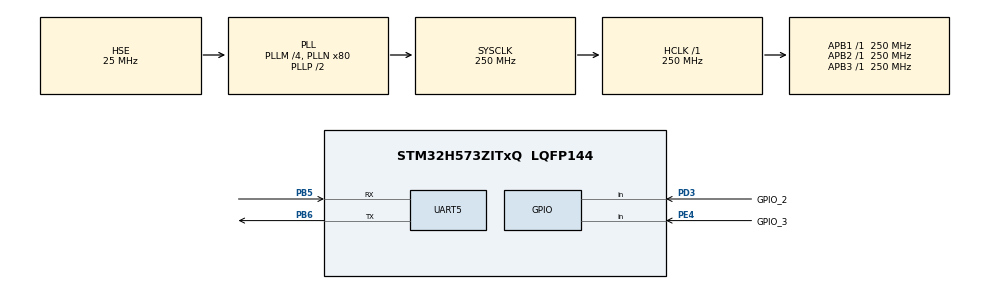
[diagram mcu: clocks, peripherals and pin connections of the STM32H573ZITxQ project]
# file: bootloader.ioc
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BOOTPATH.BootPathName=LEGACY
BOOTPATH.UserSelectedBootPath=LEGACY
CORTEX_M33_NS.userName=CORTEX_M33
Mcu.Family=STM32H5
Mcu.Name=STM32H573ZITxQ
Mcu.Package=LQFP144
NVIC.PriorityGroup=NVIC_PRIORITYGROUP_4
NVIC.UART5_IRQn=true\:0\:0\:false\:false\:true\:true\:true\:true
PB5.Mode=Asynchronous
PB5.Signal=UART5_RX
PB6.Mode=Asynchronous
PB6.Signal=UART5_TX
PC14-OSC32_IN(OSC32_IN).Mode=LSE-External-Oscillator
PC14-OSC32_IN(OSC32_IN).Signal=RCC_OSC32_IN
PC15-OSC32_OUT(OSC32_OUT).Mode=LSE-External-Oscillator
PC15-OSC32_OUT(OSC32_OUT).Signal=RCC_OSC32_OUT
PD3.GPIO_Label=GPIO_2
PD3.Signal=GPIO_Input
PE4.GPIO_Label=GPIO_3
PE4.Signal=GPIO_Input
PH0-OSC_IN(PH0).Mode=HSE-External-Oscillator
PH0-OSC_IN(PH0).Signal=RCC_OSC_IN
PH1-OSC_OUT(PH1).Mode=HSE-External-Oscillator
PH1-OSC_OUT(PH1).Signal=RCC_OSC_OUT
ProjectManager.HeapSize=0x200
ProjectManager.StackSize=0x400
ProjectManager.TargetToolchain=STM32CubeIDE
RCC.ADCFreq_Value=250000000
RCC.AHBFreq_Value=250000000
RCC.APB1Freq_Value=250000000
RCC.APB1TimFreq_Value=250000000
RCC.APB2Freq_Value=250000000
RCC.APB2TimFreq_Value=250000000
RCC.APB3Freq_Value=250000000
RCC.CSI_VALUE=4000000
RCC.CortexFreq_Value=250000000
RCC.EPOD_VALUE=25000000
RCC.HCLKFreq_Value=250000000
RCC.HSE_VALUE=25000000
RCC.HSI48_VALUE=48000000
RCC.HSI_VALUE=64000000
RCC.LSIRC_VALUE=32000
RCC.PLLFRACN=0
RCC.PLLM=4
RCC.PLLN=80
RCC.PLLSourceVirtual=RCC_PLL1_SOURCE_HSE
RCC.SYSCLKFreq_VALUE=250000000
RCC.SYSCLKSource=RCC_SYSCLKSOURCE_PLLCLK
RCC.USBFreq_Value=48000000
RCC.VCOOutputFreq_Value=500000000
VP_BOOTPATH_VS_BOOTPATH.Mode=BP_Activate
VP_CORTEX_M33_NS_VS_Hclk.Mode=Hclk_Mode
VP_MEMORYMAP_VS_MEMORYMAP.Mode=CurAppReg
VP_PWR_VS_DBSignals.Mode=DisableDeadBatterySignals
VP_PWR_VS_LPOM.Mode=PowerOptimisation
VP_PWR_VS_SECSignals.Mode=Security/Privilege
board=custom

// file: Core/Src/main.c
/* USER CODE BEGIN Header */
/**
 ******************************************************************************
 * @file           : main.c
 * @brief          : Main program body
 ******************************************************************************
 * @attention
 *
 * Copyright (c) 2024 STMicroelectronics.
 * All rights reserved.
 *
 * This software is licensed under terms that can be found in the LICENSE file
 * in the root directory of this software component.
 * If no LICENSE file comes with this software, it is provided AS-IS.
 *
 ******************************************************************************
 */
/* USER CODE END Header */
#include "main.h"

/* USER CODE BEGIN Includes */
#include "stm32h5xx_hal_flash.h"
#include "xmodem.h"
/* USER CODE END Includes */

/* USER CODE BEGIN PM */
#define BOOTLOADER_GPIO_PIN GPIO_PIN_0  // GPIO pin for mode switching
#define BOOTLOADER_GPIO_PORT GPIOA      // GPIO port for mode switching
#define APPLICATION_START_ADDRESS 0x0800C000  // Address where the application is stored
#define TIMEOUT_MS 30000               // Timeout for bootloader (30 seconds)
#define UART_BUFFER_SIZE 256           // UART buffer size for file transfer
/* USER CODE END PM */

UART_HandleTypeDef huart5;

/* USER CODE BEGIN PV */
uint8_t uartBuffer[UART_BUFFER_SIZE];

/* USER CODE END PV */

void SystemClock_Config(void);
static void MX_GPIO_Init(void);
static void MX_UART5_Init(void);
/* USER CODE BEGIN PFP */
void UART_InitAllHandlers(void) ;
/* USER CODE END PFP */

/* USER CODE BEGIN 0 */
bool IsBootloaderMode(void);
void JumpToApplication(void);
void BootloaderMain(void);
void EraseFlash(uint32_t startAddress, uint32_t length);
void WriteQuadWordToFlash(uint32_t flashAddress, uint32_t *data,
		uint32_t length);
void circular_buffer_write(CircularBuffer *cb, uint8_t value);
//#define BUFFER_SIZE 256; // Define the size of the buffer

uint8_t uart5_rx_buffer[1];

CircularBuffer uart_buffer;

/* USER CODE END 0 */

int main(void)
{

	/* MCU Configuration--------------------------------------------------------*/

	/* Reset of all peripherals, Initializes the Flash interface and the Systick. */
	HAL_Init();

	/* Configure the system clock */
	SystemClock_Config();

	/* Initialize all configured peripherals */
	MX_GPIO_Init();
	MX_UART5_Init();
	/* USER CODE BEGIN 2 */
	UART_InitAllHandlers();
	if(!(IsBootloaderMode())){
	uart_transmit_str((uint8_t*)"\n\r================================\n\r");
	uart_transmit_str((uint8_t*)"UART Bootloader\n\r");
	uart_transmit_str((uint8_t*)"Entering into bootloader mode, open Tera Term and send binary file in XMODEM mode\n\r");
	uart_transmit_str((uint8_t*)"================================\n\r\n\r");
	}
	else{
		flash_jump_to_app();
	}
	circular_buffer_init(&uart_buffer);

	/* USER CODE END 2 */

	/* Infinite loop */
	/* USER CODE BEGIN WHILE */
	while (1) {
#if 1
		if(!(IsBootloaderMode())){

			flash_erase(APPLICATION_START_ADDRESS);
			uart_transmit_str((uint8_t*)"Please send a new binary file with Xmodem protocol to update the firmware.\n\r");
			xmodem_receive(&huart5);
			HAL_Delay(wait_time);
			circular_buffer_init(&uart_buffer);
			uart_transmit_str((uint8_t*)"\n\rFailed... Please try again.\n\r");
		}
		else
//#else
			/*make sure your code is update into flash*/
			flash_jump_to_app();
#endif

		/* USER CODE END WHILE */

	}
}

void SystemClock_Config(void)
{
	RCC_OscInitTypeDef RCC_OscInitStruct = {0};
	RCC_ClkInitTypeDef RCC_ClkInitStruct = {0};

	/** Configure the main internal regulator output voltage
	 */
	__HAL_PWR_VOLTAGESCALING_CONFIG(PWR_REGULATOR_VOLTAGE_SCALE0);

	while(!__HAL_PWR_GET_FLAG(PWR_FLAG_VOSRDY)) {}

	/** Initializes the RCC Oscillators according to the specified parameters
	 * in the RCC_OscInitTypeDef structure.
	 */
	RCC_OscInitStruct.OscillatorType = RCC_OSCILLATORTYPE_HSE;
	RCC_OscInitStruct.HSEState = RCC_HSE_ON;
	RCC_OscInitStruct.PLL.PLLState = RCC_PLL_ON;
	RCC_OscInitStruct.PLL.PLLSource = RCC_PLL1_SOURCE_HSE;
	RCC_OscInitStruct.PLL.PLLM = 4;
	RCC_OscInitStruct.PLL.PLLN = 80;
	RCC_OscInitStruct.PLL.PLLP = 2;
	RCC_OscInitStruct.PLL.PLLQ = 2;
	RCC_OscInitStruct.PLL.PLLR = 2;
	RCC_OscInitStruct.PLL.PLLRGE = RCC_PLL1_VCIRANGE_2;
	RCC_OscInitStruct.PLL.PLLVCOSEL = RCC_PLL1_VCORANGE_WIDE;
	RCC_OscInitStruct.PLL.PLLFRACN = 0;
	if (HAL_RCC_OscConfig(&RCC_OscInitStruct) != HAL_OK)
	{
		Error_Handler();
	}

	/** Initializes the CPU, AHB and APB buses clocks
	 */
	RCC_ClkInitStruct.ClockType = RCC_CLOCKTYPE_HCLK|RCC_CLOCKTYPE_SYSCLK
			|RCC_CLOCKTYPE_PCLK1|RCC_CLOCKTYPE_PCLK2
			|RCC_CLOCKTYPE_PCLK3;
	RCC_ClkInitStruct.SYSCLKSource = RCC_SYSCLKSOURCE_PLLCLK;
	RCC_ClkInitStruct.AHBCLKDivider = RCC_SYSCLK_DIV1;
	RCC_ClkInitStruct.APB1CLKDivider = RCC_HCLK_DIV1;
	RCC_ClkInitStruct.APB2CLKDivider = RCC_HCLK_DIV1;
	RCC_ClkInitStruct.APB3CLKDivider = RCC_HCLK_DIV1;

	if (HAL_RCC_ClockConfig(&RCC_ClkInitStruct, FLASH_LATENCY_5) != HAL_OK)
	{
		Error_Handler();
	}

	/** Configure the programming delay
	 */
	__HAL_FLASH_SET_PROGRAM_DELAY(FLASH_PROGRAMMING_DELAY_2);
}

static void MX_UART5_Init(void)
{

	huart5.Instance = UART5;
	huart5.Init.BaudRate = 115200;
	huart5.Init.WordLength = UART_WORDLENGTH_8B;
	huart5.Init.StopBits = UART_STOPBITS_1;
	huart5.Init.Parity = UART_PARITY_NONE;
	huart5.Init.Mode = UART_MODE_TX_RX;
	huart5.Init.HwFlowCtl = UART_HWCONTROL_NONE;
	huart5.Init.OverSampling = UART_OVERSAMPLING_16;
	huart5.Init.OneBitSampling = UART_ONE_BIT_SAMPLE_DISABLE;
	huart5.Init.ClockPrescaler = UART_PRESCALER_DIV1;
	huart5.AdvancedInit.AdvFeatureInit = UART_ADVFEATURE_NO_INIT;
	if (HAL_UART_Init(&huart5) != HAL_OK)
	{
		Error_Handler();
	}
	if (HAL_UARTEx_SetTxFifoThreshold(&huart5, UART_TXFIFO_THRESHOLD_1_8) != HAL_OK)
	{
		Error_Handler();
	}
	if (HAL_UARTEx_SetRxFifoThreshold(&huart5, UART_RXFIFO_THRESHOLD_1_8) != HAL_OK)
	{
		Error_Handler();
	}
	if (HAL_UARTEx_DisableFifoMode(&huart5) != HAL_OK)
	{
		Error_Handler();
	}

}

static void MX_GPIO_Init(void)
{
	GPIO_InitTypeDef GPIO_InitStruct = {0};

	/* GPIO Ports Clock Enable */
	__HAL_RCC_GPIOE_CLK_ENABLE();
	__HAL_RCC_GPIOC_CLK_ENABLE();
	__HAL_RCC_GPIOH_CLK_ENABLE();
	__HAL_RCC_GPIOD_CLK_ENABLE();
	__HAL_RCC_GPIOB_CLK_ENABLE();

	/*Configure GPIO pin : GPIO_3_Pin */
	GPIO_InitStruct.Pin = GPIO_3_Pin;
	GPIO_InitStruct.Mode = GPIO_MODE_INPUT;
	GPIO_InitStruct.Pull = GPIO_NOPULL;
	HAL_GPIO_Init(GPIO_3_GPIO_Port, &GPIO_InitStruct);

	/*Configure GPIO pin : GPIO_2_Pin */
	GPIO_InitStruct.Pin = GPIO_2_Pin;
	GPIO_InitStruct.Mode = GPIO_MODE_INPUT;
	GPIO_InitStruct.Pull = GPIO_NOPULL;
	HAL_GPIO_Init(GPIO_2_GPIO_Port, &GPIO_InitStruct);

}

/* USER CODE BEGIN 4 */

void UART_InitAllHandlers(void) {
	// Start receiving data on all four UARTs
	HAL_UART_Receive_IT(&huart5, &uart5_rx_buffer[0], sizeof(uart5_rx_buffer));
}

// Function to jump to the user application
void JumpToApplication(void) {

	// Define a function pointer to the application's entry point
	void (*ApplicationEntryPoint)(void);

	// Get the application's stack pointer (first 4 bytes of the application address)
	uint32_t applicationStack = *((volatile uint32_t*) APPLICATION_START_ADDRESS);

	// Get the application's entry point (4 bytes after the stack pointer)
	ApplicationEntryPoint = (void (*)(void)) *((volatile uint32_t*) (APPLICATION_START_ADDRESS + 4));

	// Set the MSP to the application's stack pointer
	__set_MSP(applicationStack);

	// Jump to the application's entry point (start executing from there)
	ApplicationEntryPoint();

}

void BootloaderMain(void) {
	uint32_t flashStartAddress = APPLICATION_START_ADDRESS;  // Flash address for application
	uint8_t buffer[256];  // Declare buffer as a pointer
	//    uint32_t alignedBuffer[64];  // 32-bit aligned buffer (256 bytes = 64 * 4 bytes)
	//    buffer = (uint8_t *)alignedBuffer;  // Point buffer to alignedBuffer
	uint32_t remainingSize = 59392;

	// Ensure flashStartAddress is aligned to 16-byte boundary
	if (flashStartAddress % 16 != 0) {
		flashStartAddress = (flashStartAddress + 15) & ~15; // Adjust to next 16-byte boundary
	}

	if (flashStartAddress < 0x08000000 || flashStartAddress >= 0x081FFFFF) {
		return;  // Exit if the address is outside the valid flash range
	}

	// Notify user via UART
	const char *readyMessage = "BOOTLOADER READY: SEND FILE SIZE\n";
	HAL_UART_Transmit(&huart5, (uint8_t*) readyMessage, strlen(readyMessage),
			HAL_MAX_DELAY);

	// Receive the file size (4 bytes)
	// HAL_UART_Receive(&huart5, (uint8_t *)&remainingSize, sizeof(remainingSize), HAL_MAX_DELAY);

	// Erase the flash before writing
	EraseFlash(flashStartAddress, remainingSize);

	// Notify user to send the file
	const char *sendMessage = "SEND FILE DATA\n";
	HAL_UART_Transmit(&huart5, (uint8_t*) sendMessage, strlen(sendMessage),
			HAL_MAX_DELAY);

	// Receive and program the file in chunks
	while (remainingSize > 0) {
		// uint32_t chunkSize = (remainingSize > sizeof(alignedBuffer)) ? sizeof(alignedBuffer) : remainingSize;
		uint32_t chunkSize =
				(remainingSize > sizeof(buffer)) ?
						sizeof(buffer) : remainingSize;

		if (chunkSize > sizeof(buffer)) {
			// Handle the overflow, or adjust chunkSize to fit within buffer
		}

		// Adjust chunk size to be a multiple of 16
		if (chunkSize % 16 != 0) {
			chunkSize -= (chunkSize % 16); // Adjust chunk size to the nearest multiple of 16
		}

		// Receive a chunk of data
		HAL_StatusTypeDef status = HAL_UART_Receive(&huart5, buffer, chunkSize,
				50000);

		if (status != HAL_OK) {
			// Handle the timeout or error
			return;
		}

		// Write the chunk to flash
		WriteQuadWordToFlash(flashStartAddress, (uint32_t*) buffer, chunkSize);

		flashStartAddress += chunkSize;
		remainingSize -= chunkSize;
	}

	// Notify user of success
	const char *successMessage = "FILE TRANSFER COMPLETE. RESETTING...\n";
	HAL_UART_Transmit(&huart5, (uint8_t*) successMessage,
			strlen(successMessage), HAL_MAX_DELAY);

	HAL_NVIC_SystemReset();  // Reset to run the new application
}

void WriteQuadWordToFlash(uint32_t flashAddress, uint32_t *data,
		uint32_t length) {
	HAL_FLASH_Unlock();  // Unlock the flash for programming

	// Write data in 128-bit (16-byte) blocks
	for (uint32_t i = 0; i < length; i += 16) {
		if (HAL_FLASH_Program(FLASH_TYPEPROGRAM_QUADWORD, flashAddress + i,
				(uint32_t) (data + i / 4)) != HAL_OK) {
			Error_Handler();  // Handle programming error
		}
	}

	HAL_FLASH_Lock();  // Lock the flash after programming
}

void EraseFlash(uint32_t startAddress, uint32_t length) {
	FLASH_EraseInitTypeDef eraseInitStruct = { 0 };
	uint32_t pageError = 0;

	// Unlock the flash for erasing
	HAL_FLASH_Unlock();

	// Configure the erase parameters
	eraseInitStruct.TypeErase = FLASH_TYPEERASE_SECTORS; // Use sectors for STM32H5
	eraseInitStruct.Sector = startAddress;
	eraseInitStruct.NbSectors = (length + FLASH_SECTOR_SIZE - 1)
					/ FLASH_SECTOR_SIZE;

	// Perform the erase operation
	if (HAL_FLASHEx_Erase(&eraseInitStruct, &pageError) != HAL_OK) {
		Error_Handler();  // Handle erase error
	}

	// Lock the flash after erasing
	HAL_FLASH_Lock();
}

// Check if bootloader mode should run (e.g., check GPIO or specific condition)
bool IsBootloaderMode(void) {

	if ((HAL_GPIO_ReadPin(GPIOD, GPIO_PIN_3) == 1)
			&& (HAL_GPIO_ReadPin(GPIOE, GPIO_PIN_4) == 1)) {
		return GPIO_PIN_RESET; // Enter bootloader if button is pressed
	} else
		return GPIO_PIN_SET;

}

void HAL_UART_RxCpltCallback(UART_HandleTypeDef *huart) {

	if (huart->Instance == UART5) {
		// Handle data received from UART5
		HAL_UART_Receive_IT(&huart5, &uart5_rx_buffer[0], 1);

		circular_buffer_write(&uart_buffer, uart5_rx_buffer[0]);
	}

}

void circular_buffer_init(CircularBuffer *cb) {
	cb->head = 0;
	cb->tail = 0;
	cb->full = false;
}

void circular_buffer_write(CircularBuffer *cb, uint8_t value) {
	cb->data[cb->head] = value;

	// Advance the head pointer
	cb->head = (cb->head + 1) % BUFFER_SIZE;

	if (cb->full) {
		// If the buffer is full, advance the tail pointer
		cb->tail = (cb->tail + 1) % BUFFER_SIZE;
	}

	// Check if the buffer is full
	cb->full = (cb->head == cb->tail);
}

/* USER CODE END 4 */

void Error_Handler(void)
{
	__disable_irq();
	while (1) {
	}
}
